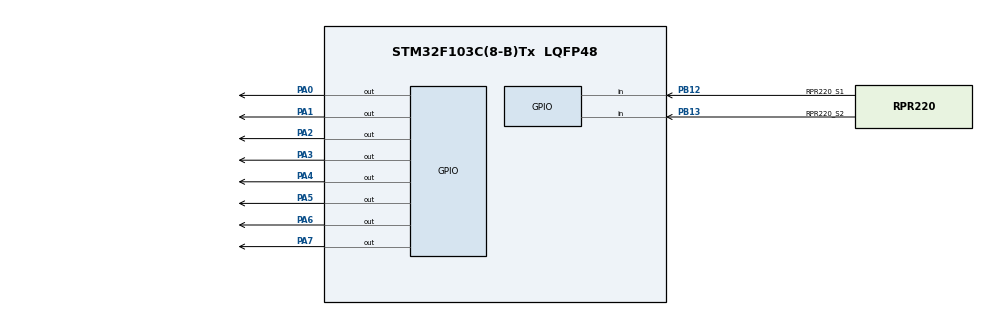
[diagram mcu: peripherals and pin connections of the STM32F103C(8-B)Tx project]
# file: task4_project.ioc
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Mcu.Family=STM32F1
Mcu.Name=STM32F103C(8-B)Tx
Mcu.Package=LQFP48
NVIC.PriorityGroup=NVIC_PRIORITYGROUP_4
PA0-WKUP.Signal=GPIO_Output
PA1.Signal=GPIO_Output
PA2.Signal=GPIO_Output
PA3.Signal=GPIO_Output
PA4.Signal=GPIO_Output
PA5.Signal=GPIO_Output
PA6.Signal=GPIO_Output
PA7.Signal=GPIO_Output
PB12.GPIO_Label=RPR220_S1
PB12.GPIO_PuPd=GPIO_NOPULL
PB12.Signal=GPIO_Input
PB13.GPIO_Label=RPR220_S2
PB13.GPIO_PuPd=GPIO_NOPULL
PB13.Signal=GPIO_Input
ProjectManager.HeapSize=0x200
ProjectManager.StackSize=0x400
ProjectManager.TargetToolchain=CMake
RCC.APB1Freq_Value=8000000
RCC.APB2Freq_Value=8000000
VP_SYS_VS_ND.Mode=No_Debug
board=custom

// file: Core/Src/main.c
/* USER CODE BEGIN Header */
/**
  ******************************************************************************
  * @file           : main.c
  * @brief          : Main program body
  ******************************************************************************
  * @attention
  *
  * Copyright (c) 2026 STMicroelectronics.
  * All rights reserved.
  *
  * This software is licensed under terms that can be found in the LICENSE file
  * in the root directory of this software component.
  * If no LICENSE file comes with this software, it is provided AS-IS.
  *
  ******************************************************************************
  */
/* USER CODE END Header */
#include "main.h"

void SystemClock_Config(void);
static void MX_GPIO_Init(void);

/* USER CODE BEGIN 0 */
#include <stdint.h>

static const uint8_t number_table[10] =
{
  0x3F,
  0x06,
  0x5B,
  0x4F,
  0x66,
  0x6D,
  0x7D,
  0x07,
  0x7F,
  0x6F
};
static void show_number(uint8_t number)
{
  if (number > 9)
  {
    return;
  }
  uint8_t data = number_table[number];

  for (uint8_t i = 0; i < 7; i++)
  {
    uint16_t pin = (uint16_t)(GPIO_PIN_0 << i);

    if (data & (1U << i))
    {
      HAL_GPIO_WritePin(GPIOA, pin, GPIO_PIN_RESET);
    }
    else
    {
      HAL_GPIO_WritePin(GPIOA, pin, GPIO_PIN_SET);
    }
  }

  HAL_GPIO_WritePin(GPIOA, GPIO_PIN_7, GPIO_PIN_SET);
}

/* USER CODE END 0 */

int main(void)
{

  /* MCU Configuration--------------------------------------------------------*/

  /* Reset of all peripherals, Initializes the Flash interface and the Systick. */
  HAL_Init();

  /* Configure the system clock */
  SystemClock_Config();

  /* Initialize all configured peripherals */
  MX_GPIO_Init();

  /* Infinite loop */
  /* USER CODE BEGIN WHILE */
  while (1)
  {
    uint8_t sensor1 = 0;
    uint8_t sensor2 = 0;

    if (HAL_GPIO_ReadPin(GPIOB, GPIO_PIN_12) == GPIO_PIN_SET)
    {
      sensor1 = 1;
    }
    if (HAL_GPIO_ReadPin(GPIOB, GPIO_PIN_13) == GPIO_PIN_SET)
    {
      sensor2 = 1;
    }

    uint8_t state = sensor1 + sensor2 * 2;
    show_number(state);
    HAL_Delay(20);
    /* USER CODE END WHILE */

  }
}

void SystemClock_Config(void)
{
  RCC_OscInitTypeDef RCC_OscInitStruct = {0};
  RCC_ClkInitTypeDef RCC_ClkInitStruct = {0};

  /** Initializes the RCC Oscillators according to the specified parameters
  * in the RCC_OscInitTypeDef structure.
  */
  RCC_OscInitStruct.OscillatorType = RCC_OSCILLATORTYPE_HSI;
  RCC_OscInitStruct.HSIState = RCC_HSI_ON;
  RCC_OscInitStruct.HSICalibrationValue = RCC_HSICALIBRATION_DEFAULT;
  RCC_OscInitStruct.PLL.PLLState = RCC_PLL_NONE;
  if (HAL_RCC_OscConfig(&RCC_OscInitStruct) != HAL_OK)
  {
    Error_Handler();
  }

  /** Initializes the CPU, AHB and APB buses clocks
  */
  RCC_ClkInitStruct.ClockType = RCC_CLOCKTYPE_HCLK|RCC_CLOCKTYPE_SYSCLK
                              |RCC_CLOCKTYPE_PCLK1|RCC_CLOCKTYPE_PCLK2;
  RCC_ClkInitStruct.SYSCLKSource = RCC_SYSCLKSOURCE_HSI;
  RCC_ClkInitStruct.AHBCLKDivider = RCC_SYSCLK_DIV1;
  RCC_ClkInitStruct.APB1CLKDivider = RCC_HCLK_DIV1;
  RCC_ClkInitStruct.APB2CLKDivider = RCC_HCLK_DIV1;

  if (HAL_RCC_ClockConfig(&RCC_ClkInitStruct, FLASH_LATENCY_0) != HAL_OK)
  {
    Error_Handler();
  }
}

static void MX_GPIO_Init(void)
{
  GPIO_InitTypeDef GPIO_InitStruct = {0};

  /* GPIO Ports Clock Enable */
  __HAL_RCC_GPIOA_CLK_ENABLE();
  __HAL_RCC_GPIOB_CLK_ENABLE();

  /*Configure GPIO pin Output Level */
  HAL_GPIO_WritePin(GPIOA, GPIO_PIN_0|GPIO_PIN_1|GPIO_PIN_2|GPIO_PIN_3
                          |GPIO_PIN_4|GPIO_PIN_5|GPIO_PIN_6|GPIO_PIN_7, GPIO_PIN_SET);

  /*Configure GPIO pins : PA0 PA1 PA2 PA3 PA4 PA5 PA6 PA7 (7-seg display) */
  GPIO_InitStruct.Pin = GPIO_PIN_0|GPIO_PIN_1|GPIO_PIN_2|GPIO_PIN_3
                          |GPIO_PIN_4|GPIO_PIN_5|GPIO_PIN_6|GPIO_PIN_7;
  GPIO_InitStruct.Mode = GPIO_MODE_OUTPUT_PP;
  GPIO_InitStruct.Pull = GPIO_NOPULL;
  GPIO_InitStruct.Speed = GPIO_SPEED_FREQ_LOW;
  HAL_GPIO_Init(GPIOA, &GPIO_InitStruct);

  /*Configure GPIO pins : PB12 PB13 (RPR220 line sensors) */
  GPIO_InitStruct.Pin = GPIO_PIN_12|GPIO_PIN_13;
  GPIO_InitStruct.Mode = GPIO_MODE_INPUT;
  GPIO_InitStruct.Pull = GPIO_NOPULL;
  HAL_GPIO_Init(GPIOB, &GPIO_InitStruct);

}

void Error_Handler(void)
{
  __disable_irq();
  while (1)
  {
  }
}
